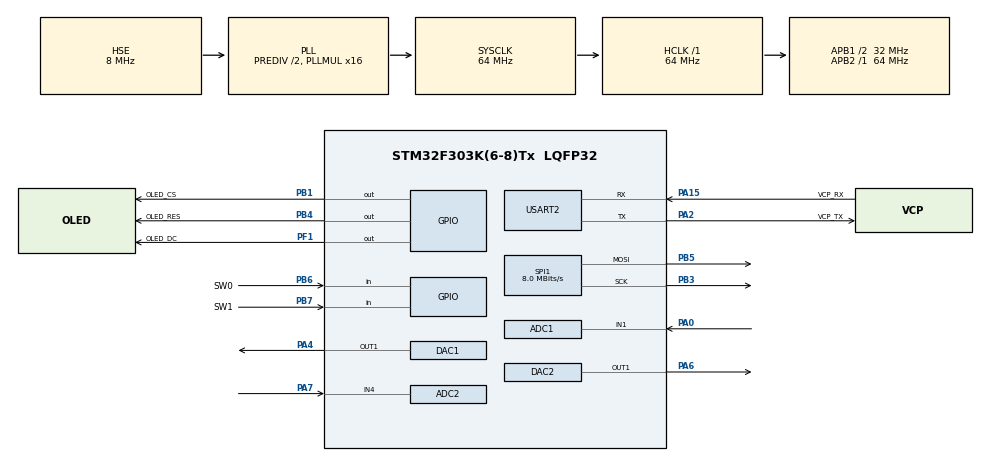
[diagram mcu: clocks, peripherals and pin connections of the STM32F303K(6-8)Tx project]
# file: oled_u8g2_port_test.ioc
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ADC1.Channel-0\#ChannelRegularConversion=ADC_CHANNEL_1
ADC1.Channel-1\#ChannelRegularConversion=ADC_CHANNEL_1
ADC1.Channel-10\#ChannelRegularConversion=ADC_CHANNEL_1
ADC1.Channel-11\#ChannelRegularConversion=ADC_CHANNEL_1
ADC1.Channel-12\#ChannelRegularConversion=ADC_CHANNEL_1
ADC1.Channel-13\#ChannelRegularConversion=ADC_CHANNEL_1
ADC1.Channel-14\#ChannelRegularConversion=ADC_CHANNEL_1
ADC1.Channel-15\#ChannelRegularConversion=ADC_CHANNEL_1
ADC1.Channel-2\#ChannelRegularConversion=ADC_CHANNEL_1
ADC1.Channel-3\#ChannelRegularConversion=ADC_CHANNEL_1
ADC1.Channel-4\#ChannelRegularConversion=ADC_CHANNEL_1
ADC1.Channel-5\#ChannelRegularConversion=ADC_CHANNEL_1
ADC1.Channel-6\#ChannelRegularConversion=ADC_CHANNEL_1
ADC1.Channel-7\#ChannelRegularConversion=ADC_CHANNEL_1
ADC1.Channel-8\#ChannelRegularConversion=ADC_CHANNEL_1
ADC1.Channel-9\#ChannelRegularConversion=ADC_CHANNEL_1
ADC1.NbrOfConversion=16
ADC1.NbrOfConversionFlag=1
ADC1.Offset-0\#ChannelRegularConversion=0
ADC1.Offset-1\#ChannelRegularConversion=0
ADC1.Offset-10\#ChannelRegularConversion=0
ADC1.Offset-11\#ChannelRegularConversion=0
ADC1.Offset-12\#ChannelRegularConversion=0
ADC1.Offset-13\#ChannelRegularConversion=0
ADC1.Offset-14\#ChannelRegularConversion=0
ADC1.Offset-15\#ChannelRegularConversion=0
ADC1.Offset-2\#ChannelRegularConversion=0
ADC1.Offset-3\#ChannelRegularConversion=0
ADC1.Offset-4\#ChannelRegularConversion=0
ADC1.Offset-5\#ChannelRegularConversion=0
ADC1.Offset-6\#ChannelRegularConversion=0
ADC1.Offset-7\#ChannelRegularConversion=0
ADC1.Offset-8\#ChannelRegularConversion=0
ADC1.Offset-9\#ChannelRegularConversion=0
ADC1.OffsetNumber-0\#ChannelRegularConversion=ADC_OFFSET_NONE
ADC1.OffsetNumber-1\#ChannelRegularConversion=ADC_OFFSET_NONE
ADC1.OffsetNumber-10\#ChannelRegularConversion=ADC_OFFSET_NONE
ADC1.OffsetNumber-11\#ChannelRegularConversion=ADC_OFFSET_NONE
ADC1.OffsetNumber-12\#ChannelRegularConversion=ADC_OFFSET_NONE
ADC1.OffsetNumber-13\#ChannelRegularConversion=ADC_OFFSET_NONE
ADC1.OffsetNumber-14\#ChannelRegularConversion=ADC_OFFSET_NONE
ADC1.OffsetNumber-15\#ChannelRegularConversion=ADC_OFFSET_NONE
ADC1.OffsetNumber-2\#ChannelRegularConversion=ADC_OFFSET_NONE
ADC1.OffsetNumber-3\#ChannelRegularConversion=ADC_OFFSET_NONE
ADC1.OffsetNumber-4\#ChannelRegularConversion=ADC_OFFSET_NONE
ADC1.OffsetNumber-5\#ChannelRegularConversion=ADC_OFFSET_NONE
ADC1.OffsetNumber-6\#ChannelRegularConversion=ADC_OFFSET_NONE
ADC1.OffsetNumber-7\#ChannelRegularConversion=ADC_OFFSET_NONE
ADC1.OffsetNumber-8\#ChannelRegularConversion=ADC_OFFSET_NONE
ADC1.OffsetNumber-9\#ChannelRegularConversion=ADC_OFFSET_NONE
ADC1.Rank-0\#ChannelRegularConversion=1
ADC1.Rank-1\#ChannelRegularConversion=2
ADC1.Rank-10\#ChannelRegularConversion=11
ADC1.Rank-11\#ChannelRegularConversion=12
ADC1.Rank-12\#ChannelRegularConversion=13
ADC1.Rank-13\#ChannelRegularConversion=14
ADC1.Rank-14\#ChannelRegularConversion=15
ADC1.Rank-15\#ChannelRegularConversion=16
ADC1.Rank-2\#ChannelRegularConversion=3
ADC1.Rank-3\#ChannelRegularConversion=4
ADC1.Rank-4\#ChannelRegularConversion=5
ADC1.Rank-5\#ChannelRegularConversion=6
ADC1.Rank-6\#ChannelRegularConversion=7
ADC1.Rank-7\#ChannelRegularConversion=8
ADC1.Rank-8\#ChannelRegularConversion=9
ADC1.Rank-9\#ChannelRegularConversion=10
ADC1.SamplingTime-0\#ChannelRegularConversion=ADC_SAMPLETIME_1CYCLE_5
ADC1.SamplingTime-1\#ChannelRegularConversion=ADC_SAMPLETIME_1CYCLE_5
ADC1.SamplingTime-10\#ChannelRegularConversion=ADC_SAMPLETIME_1CYCLE_5
ADC1.SamplingTime-11\#ChannelRegularConversion=ADC_SAMPLETIME_1CYCLE_5
ADC1.SamplingTime-12\#ChannelRegularConversion=ADC_SAMPLETIME_1CYCLE_5
ADC1.SamplingTime-13\#ChannelRegularConversion=ADC_SAMPLETIME_1CYCLE_5
ADC1.SamplingTime-14\#ChannelRegularConversion=ADC_SAMPLETIME_1CYCLE_5
ADC1.SamplingTime-15\#ChannelRegularConversion=ADC_SAMPLETIME_1CYCLE_5
ADC1.SamplingTime-2\#ChannelRegularConversion=ADC_SAMPLETIME_1CYCLE_5
ADC1.SamplingTime-3\#ChannelRegularConversion=ADC_SAMPLETIME_1CYCLE_5
ADC1.SamplingTime-4\#ChannelRegularConversion=ADC_SAMPLETIME_1CYCLE_5
ADC1.SamplingTime-5\#ChannelRegularConversion=ADC_SAMPLETIME_1CYCLE_5
ADC1.SamplingTime-6\#ChannelRegularConversion=ADC_SAMPLETIME_1CYCLE_5
ADC1.SamplingTime-7\#ChannelRegularConversion=ADC_SAMPLETIME_1CYCLE_5
ADC1.SamplingTime-8\#ChannelRegularConversion=ADC_SAMPLETIME_1CYCLE_5
ADC1.SamplingTime-9\#ChannelRegularConversion=ADC_SAMPLETIME_1CYCLE_5
ADC1.SamplingTimeOPAMP-0\#ChannelRegularConversion=ADC_SAMPLETIME_19CYCLES_5
ADC1.SamplingTimeOPAMP-1\#ChannelRegularConversion=ADC_SAMPLETIME_1CYCLE_5
ADC1.SamplingTimeOPAMP-10\#ChannelRegularConversion=ADC_SAMPLETIME_1CYCLE_5
ADC1.SamplingTimeOPAMP-11\#ChannelRegularConversion=ADC_SAMPLETIME_1CYCLE_5
ADC1.SamplingTimeOPAMP-12\#ChannelRegularConversion=ADC_SAMPLETIME_1CYCLE_5
ADC1.SamplingTimeOPAMP-13\#ChannelRegularConversion=ADC_SAMPLETIME_1CYCLE_5
ADC1.SamplingTimeOPAMP-14\#ChannelRegularConversion=ADC_SAMPLETIME_1CYCLE_5
ADC1.SamplingTimeOPAMP-15\#ChannelRegularConversion=ADC_SAMPLETIME_1CYCLE_5
ADC1.SamplingTimeOPAMP-2\#ChannelRegularConversion=ADC_SAMPLETIME_1CYCLE_5
ADC1.SamplingTimeOPAMP-3\#ChannelRegularConversion=ADC_SAMPLETIME_1CYCLE_5
ADC1.SamplingTimeOPAMP-4\#ChannelRegularConversion=ADC_SAMPLETIME_1CYCLE_5
ADC1.SamplingTimeOPAMP-5\#ChannelRegularConversion=ADC_SAMPLETIME_1CYCLE_5
ADC1.SamplingTimeOPAMP-6\#ChannelRegularConversion=ADC_SAMPLETIME_1CYCLE_5
ADC1.SamplingTimeOPAMP-7\#ChannelRegularConversion=ADC_SAMPLETIME_1CYCLE_5
ADC1.SamplingTimeOPAMP-8\#ChannelRegularConversion=ADC_SAMPLETIME_1CYCLE_5
ADC1.SamplingTimeOPAMP-9\#ChannelRegularConversion=ADC_SAMPLETIME_1CYCLE_5
ADC1.SubFamily=STM32F303x8
ADC1.master=1
ADC2.Channel-1\#ChannelRegularConversion=ADC_CHANNEL_4
ADC2.Channel-10\#ChannelRegularConversion=ADC_CHANNEL_4
ADC2.Channel-11\#ChannelRegularConversion=ADC_CHANNEL_4
ADC2.Channel-12\#ChannelRegularConversion=ADC_CHANNEL_4
ADC2.Channel-13\#ChannelRegularConversion=ADC_CHANNEL_4
ADC2.Channel-14\#ChannelRegularConversion=ADC_CHANNEL_4
ADC2.Channel-15\#ChannelRegularConversion=ADC_CHANNEL_4
ADC2.Channel-16\#ChannelRegularConversion=ADC_CHANNEL_4
ADC2.Channel-2\#ChannelRegularConversion=ADC_CHANNEL_4
ADC2.Channel-3\#ChannelRegularConversion=ADC_CHANNEL_4
ADC2.Channel-4\#ChannelRegularConversion=ADC_CHANNEL_4
ADC2.Channel-5\#ChannelRegularConversion=ADC_CHANNEL_4
ADC2.Channel-6\#ChannelRegularConversion=ADC_CHANNEL_4
ADC2.Channel-7\#ChannelRegularConversion=ADC_CHANNEL_4
ADC2.Channel-8\#ChannelRegularConversion=ADC_CHANNEL_4
ADC2.Channel-9\#ChannelRegularConversion=ADC_CHANNEL_4
ADC2.NbrOfConversion=16
ADC2.NbrOfConversionFlag=1
ADC2.Offset-1\#ChannelRegularConversion=0
ADC2.Offset-10\#ChannelRegularConversion=0
ADC2.Offset-11\#ChannelRegularConversion=0
ADC2.Offset-12\#ChannelRegularConversion=0
ADC2.Offset-13\#ChannelRegularConversion=0
ADC2.Offset-14\#ChannelRegularConversion=0
ADC2.Offset-15\#ChannelRegularConversion=0
ADC2.Offset-16\#ChannelRegularConversion=0
ADC2.Offset-2\#ChannelRegularConversion=0
ADC2.Offset-3\#ChannelRegularConversion=0
ADC2.Offset-4\#ChannelRegularConversion=0
ADC2.Offset-5\#ChannelRegularConversion=0
ADC2.Offset-6\#ChannelRegularConversion=0
ADC2.Offset-7\#ChannelRegularConversion=0
ADC2.Offset-8\#ChannelRegularConversion=0
ADC2.Offset-9\#ChannelRegularConversion=0
ADC2.OffsetNumber-1\#ChannelRegularConversion=ADC_OFFSET_NONE
ADC2.OffsetNumber-10\#ChannelRegularConversion=ADC_OFFSET_NONE
ADC2.OffsetNumber-11\#ChannelRegularConversion=ADC_OFFSET_NONE
ADC2.OffsetNumber-12\#ChannelRegularConversion=ADC_OFFSET_NONE
ADC2.OffsetNumber-13\#ChannelRegularConversion=ADC_OFFSET_NONE
ADC2.OffsetNumber-14\#ChannelRegularConversion=ADC_OFFSET_NONE
ADC2.OffsetNumber-15\#ChannelRegularConversion=ADC_OFFSET_NONE
ADC2.OffsetNumber-16\#ChannelRegularConversion=ADC_OFFSET_NONE
ADC2.OffsetNumber-2\#ChannelRegularConversion=ADC_OFFSET_NONE
ADC2.OffsetNumber-3\#ChannelRegularConversion=ADC_OFFSET_NONE
ADC2.OffsetNumber-4\#ChannelRegularConversion=ADC_OFFSET_NONE
ADC2.OffsetNumber-5\#ChannelRegularConversion=ADC_OFFSET_NONE
ADC2.OffsetNumber-6\#ChannelRegularConversion=ADC_OFFSET_NONE
ADC2.OffsetNumber-7\#ChannelRegularConversion=ADC_OFFSET_NONE
ADC2.OffsetNumber-8\#ChannelRegularConversion=ADC_OFFSET_NONE
ADC2.OffsetNumber-9\#ChannelRegularConversion=ADC_OFFSET_NONE
ADC2.Rank-1\#ChannelRegularConversion=1
ADC2.Rank-10\#ChannelRegularConversion=10
ADC2.Rank-11\#ChannelRegularConversion=11
ADC2.Rank-12\#ChannelRegularConversion=12
ADC2.Rank-13\#ChannelRegularConversion=13
ADC2.Rank-14\#ChannelRegularConversion=14
ADC2.Rank-15\#ChannelRegularConversion=15
ADC2.Rank-16\#ChannelRegularConversion=16
ADC2.Rank-2\#ChannelRegularConversion=2
ADC2.Rank-3\#ChannelRegularConversion=3
ADC2.Rank-4\#ChannelRegularConversion=4
ADC2.Rank-5\#ChannelRegularConversion=5
ADC2.Rank-6\#ChannelRegularConversion=6
ADC2.Rank-7\#ChannelRegularConversion=7
ADC2.Rank-8\#ChannelRegularConversion=8
ADC2.Rank-9\#ChannelRegularConversion=9
ADC2.SamplingTime-1\#ChannelRegularConversion=ADC_SAMPLETIME_1CYCLE_5
ADC2.SamplingTime-10\#ChannelRegularConversion=ADC_SAMPLETIME_1CYCLE_5
ADC2.SamplingTime-11\#ChannelRegularConversion=ADC_SAMPLETIME_1CYCLE_5
ADC2.SamplingTime-12\#ChannelRegularConversion=ADC_SAMPLETIME_1CYCLE_5
ADC2.SamplingTime-13\#ChannelRegularConversion=ADC_SAMPLETIME_1CYCLE_5
ADC2.SamplingTime-14\#ChannelRegularConversion=ADC_SAMPLETIME_1CYCLE_5
ADC2.SamplingTime-15\#ChannelRegularConversion=ADC_SAMPLETIME_1CYCLE_5
ADC2.SamplingTime-16\#ChannelRegularConversion=ADC_SAMPLETIME_1CYCLE_5
ADC2.SamplingTime-2\#ChannelRegularConversion=ADC_SAMPLETIME_1CYCLE_5
ADC2.SamplingTime-3\#ChannelRegularConversion=ADC_SAMPLETIME_1CYCLE_5
ADC2.SamplingTime-4\#ChannelRegularConversion=ADC_SAMPLETIME_1CYCLE_5
ADC2.SamplingTime-5\#ChannelRegularConversion=ADC_SAMPLETIME_1CYCLE_5
ADC2.SamplingTime-6\#ChannelRegularConversion=ADC_SAMPLETIME_1CYCLE_5
ADC2.SamplingTime-7\#ChannelRegularConversion=ADC_SAMPLETIME_1CYCLE_5
ADC2.SamplingTime-8\#ChannelRegularConversion=ADC_SAMPLETIME_1CYCLE_5
ADC2.SamplingTime-9\#ChannelRegularConversion=ADC_SAMPLETIME_1CYCLE_5
ADC2.SamplingTimeOPAMP-1\#ChannelRegularConversion=ADC_SAMPLETIME_19CYCLES_5
ADC2.SamplingTimeOPAMP-10\#ChannelRegularConversion=ADC_SAMPLETIME_1CYCLE_5
ADC2.SamplingTimeOPAMP-11\#ChannelRegularConversion=ADC_SAMPLETIME_1CYCLE_5
ADC2.SamplingTimeOPAMP-12\#ChannelRegularConversion=ADC_SAMPLETIME_1CYCLE_5
ADC2.SamplingTimeOPAMP-13\#ChannelRegularConversion=ADC_SAMPLETIME_1CYCLE_5
ADC2.SamplingTimeOPAMP-14\#ChannelRegularConversion=ADC_SAMPLETIME_1CYCLE_5
ADC2.SamplingTimeOPAMP-15\#ChannelRegularConversion=ADC_SAMPLETIME_1CYCLE_5
ADC2.SamplingTimeOPAMP-16\#ChannelRegularConversion=ADC_SAMPLETIME_1CYCLE_5
ADC2.SamplingTimeOPAMP-2\#ChannelRegularConversion=ADC_SAMPLETIME_1CYCLE_5
ADC2.SamplingTimeOPAMP-3\#ChannelRegularConversion=ADC_SAMPLETIME_1CYCLE_5
ADC2.SamplingTimeOPAMP-4\#ChannelRegularConversion=ADC_SAMPLETIME_1CYCLE_5
ADC2.SamplingTimeOPAMP-5\#ChannelRegularConversion=ADC_SAMPLETIME_1CYCLE_5
ADC2.SamplingTimeOPAMP-6\#ChannelRegularConversion=ADC_SAMPLETIME_1CYCLE_5
ADC2.SamplingTimeOPAMP-7\#ChannelRegularConversion=ADC_SAMPLETIME_1CYCLE_5
ADC2.SamplingTimeOPAMP-8\#ChannelRegularConversion=ADC_SAMPLETIME_1CYCLE_5
ADC2.SamplingTimeOPAMP-9\#ChannelRegularConversion=ADC_SAMPLETIME_1CYCLE_5
ADC2.SubFamily=STM32F303x8
DAC1.DAC_OutputBuffer=DAC_OUTPUTBUFFER_ENABLE
Mcu.Family=STM32F3
Mcu.Name=STM32F303K(6-8)Tx
Mcu.Package=LQFP32
NVIC.PriorityGroup=NVIC_PRIORITYGROUP_4
PA0.Mode=IN1-Single-Ended
PA0.Signal=ADC1_IN1
PA13.GPIO_Label=SWDIO
PA13.Mode=Serial_Wire
PA13.Signal=SYS_JTMS-SWDIO
PA14.GPIO_Label=SWCLK
PA14.Mode=Serial_Wire
PA14.Signal=SYS_JTCK-SWCLK
PA15.GPIO_Label=VCP_RX
PA15.Mode=Asynchronous
PA15.Signal=USART2_RX
PA2.GPIO_Label=VCP_TX
PA2.Mode=Asynchronous
PA2.Signal=USART2_TX
PA4.Signal=COMP_DAC11_group
PA6.Signal=COMP_DAC21_group
PA7.Mode=IN4-Single-Ended
PA7.Signal=ADC2_IN4
PB1.GPIO_Label=OLED_CS
PB1.Signal=GPIO_Output
PB3.Mode=TX_Only_Simplex_Unidirect_Master
PB3.Signal=SPI1_SCK
PB4.GPIO_Label=OLED_RES
PB4.Signal=GPIO_Output
PB5.Mode=TX_Only_Simplex_Unidirect_Master
PB5.Signal=SPI1_MOSI
PB6.GPIO_Label=SW0
PB6.Signal=GPIO_Input
PB7.GPIO_Label=SW1
PB7.Signal=GPIO_Input
PF0\ /\ OSC_IN.GPIO_Label=MCO
PF0\ /\ OSC_IN.Mode=HSE-External-Clock-Source
PF0\ /\ OSC_IN.Signal=RCC_OSC_IN
PF1\ /\ OSC_OUT.GPIO_Label=OLED_DC
PF1\ /\ OSC_OUT.Signal=GPIO_Output
ProjectManager.HeapSize=0x200
ProjectManager.StackSize=0x400
ProjectManager.TargetToolchain=STM32CubeIDE
RCC.ADC12PRES=RCC_ADC12PLLCLK_DIV64
RCC.AHBFreq_Value=64000000
RCC.APB1CLKDivider=RCC_HCLK_DIV2
RCC.APB1Freq_Value=32000000
RCC.APB1TimFreq_Value=64000000
RCC.APB2Freq_Value=64000000
RCC.APB2TimFreq_Value=64000000
RCC.CortexFreq_Value=64000000
RCC.HCLKFreq_Value=64000000
RCC.HSE_VALUE=8000000
RCC.HSI_VALUE=8000000
RCC.PLLMUL=RCC_PLL_MUL16
RCC.PLLSourceVirtual=RCC_PLLSOURCE_HSE
RCC.RCC_PLLsource_Clock_Source_FROM_HSE=RCC_HSE_PREDIV_DIV2
RCC.SYSCLKFreq_VALUE=64000000
RCC.SYSCLKSourceVirtual=RCC_SYSCLKSOURCE_PLLCLK
SH.COMP_DAC11_group.0=DAC1_OUT1,DAC_OUT1
SH.COMP_DAC21_group.0=DAC2_OUT1,Switch_Enable_OUT1
SPI1.BaudRatePrescaler=SPI_BAUDRATEPRESCALER_8
SPI1.CLKPhase=SPI_PHASE_1EDGE
SPI1.CLKPolarity=SPI_POLARITY_LOW
SPI1.CalculateBaudRate=8.0 MBits/s
SPI1.DataSize=SPI_DATASIZE_8BIT
SPI1.Direction=SPI_DIRECTION_2LINES
SPI1.FirstBit=SPI_FIRSTBIT_MSB
SPI1.Mode=SPI_MODE_MASTER
SPI1.VirtualType=VM_MASTER
USART2.VirtualMode-Asynchronous=VM_ASYNC
board=NUCLEO-F303K8

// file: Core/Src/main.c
/* USER CODE BEGIN Header */
/**
 ******************************************************************************
 * @file           : main.c
 * @brief          : Main program body
 ******************************************************************************
 * @attention
 *
 * Copyright (c) 2022 STMicroelectronics.
 * All rights reserved.
 *
 * This software is licensed under terms that can be found in the LICENSE file
 * in the root directory of this software component.
 * If no LICENSE file comes with this software, it is provided AS-IS.
 *
 ******************************************************************************
 */
/* USER CODE END Header */
#include "main.h"

/* USER CODE BEGIN Includes */

#include "u8g2/u8g2.h"

/* USER CODE END Includes */

ADC_HandleTypeDef hadc1;
ADC_HandleTypeDef hadc2;

DAC_HandleTypeDef hdac1;
DAC_HandleTypeDef hdac2;

SPI_HandleTypeDef hspi1;

UART_HandleTypeDef huart2;

/* USER CODE BEGIN PV */

u8g2_t u8g2; // a structure which will contain all the data for one display

/* USER CODE END PV */

void SystemClock_Config(void);
static void MX_GPIO_Init(void);
static void MX_USART2_UART_Init(void);
static void MX_ADC1_Init(void);
static void MX_SPI1_Init(void);
static void MX_ADC2_Init(void);
static void MX_DAC1_Init(void);
static void MX_DAC2_Init(void);

/* USER CODE BEGIN 0 */

extern uint8_t u8x8_stm32_gpio_and_delay(u8x8_t *u8x8, uint8_t msg,
        uint8_t arg_int, void *arg_ptr);
extern uint8_t u8x8_byte_stm32_hw_spi(u8x8_t *u8x8, uint8_t msg,
        uint8_t arg_int, void *arg_ptr);

/*void draw(u8g2_t *u8g2)
 {
 u8g2_ClearBuffer(u8g2);

 u8g2_SetFontMode(u8g2, 1);
 u8g2_SetFontDirection(u8g2, 0);
 u8g2_SetFont(u8g2, u8g2_font_6x10);

 sprintf(string_1, "LCD refresh: %d ms", lcd_refresh_time);
 u8g2_DrawStr(u8g2, 2, 10, string_1);

 u8g2_SendBuffer(u8g2);
 }*/

const float M_PI_F = (float)M_PI;

//convert a voltage [V] to an 8-bit DAC output value
uint32_t VoltageTo8BitDacValue(float voltage)
{
    if ((voltage < 0.0f) || (voltage > 3.3f)) return 0;//todo: output error?

    uint32_t dacValue = (uint32_t) roundf(voltage * 255 / 3.3f);//todo: not the fastest with this function call... maybe come up with a better way eventually
    return dacValue;
}

/* USER CODE END 0 */

int main(void)
{

  /* MCU Configuration--------------------------------------------------------*/

  /* Reset of all peripherals, Initializes the Flash interface and the Systick. */
  HAL_Init();

  /* Configure the system clock */
  SystemClock_Config();

  /* Initialize all configured peripherals */
  MX_GPIO_Init();
  MX_USART2_UART_Init();
  MX_ADC1_Init();
  MX_SPI1_Init();
  MX_ADC2_Init();
  MX_DAC1_Init();
  MX_DAC2_Init();
  /* USER CODE BEGIN 2 */

    /* rotation options:
     U8G2_R0    No rotation, landscape
     U8G2_R1     90 degree clockwise rotation
     U8G2_R2     180 degree clockwise rotation
     U8G2_R3     270 degree clockwise rotation
     U8G2_MIRROR     No rotation, landscape, display content is mirrored (v2.6.x)
     */
    u8g2_Setup_ssd1309_128x64_noname2_f(&u8g2, U8G2_R0, u8x8_byte_stm32_hw_spi,
            u8x8_stm32_gpio_and_delay);
    u8g2_InitDisplay(&u8g2);
    u8g2_SetPowerSave(&u8g2, 0);
  /* USER CODE END 2 */

  /* Infinite loop */
  /* USER CODE BEGIN WHILE */
    //u8g2_SetFont(&u8g2, u8g2_font_ncenB14_tr);
    u8g2_SetFont(&u8g2, u8g2_font_unifont_t_symbols);
    char strBuffer[30];
    u8g2_DrawStr(&u8g2, 0, 15, "hello");
    u8g2_SendBuffer(&u8g2);

    //HAL_DAC_Start(&hdac1, DAC_CHANNEL_1);
    //float dacDesiredVoltage1 = 1.55f;
    //uint32_t dacValue1 = VoltageTo8BitDacValue(dacDesiredVoltage1);
    //float dacActualVoltage1 = ((float)dacValue1)/255.0f * 3.3f;
    //HAL_DAC_SetValue(&hdac1, DAC_CHANNEL_1, DAC_ALIGN_8B_R, dacValue1);

    HAL_DAC_Start(&hdac2, DAC_CHANNEL_1);  //audio out is on PA6 = DAC2/1
    //float dacDesiredVoltage2 = 2.59f;
    //uint32_t dacValue2 = (uint32_t) roundf(dacDesiredVoltage2 * 255 / 3.3f);
    //float dacActualVoltage2 = ((float)dacValue2)/255.0f * 3.3f;
    //HAL_DAC_SetValue(&hdac2, DAC_CHANNEL_1, DAC_ALIGN_8B_R, dacValue2);//2.59V

    float amplitude = 0.00f;
    float frequency = 300.0f;
    float sampleRate = 1000.0f;//[samp/sec]
    float sampleTime = 1.0f/sampleRate;//[sec/sample]

    int samplesPerCycle = (int)roundf(1.0f/frequency * sampleRate);

    uint32_t wave[samplesPerCycle];

    for (int i=0; i<samplesPerCycle; i++){
        float timeS = (i+1) * sampleTime;
        float voltage = amplitude * sinf(2*3.14159265359f*frequency*timeS) + amplitude;
        wave[i] = VoltageTo8BitDacValue(voltage);
    }

    int waveCount = 0;
    uint32_t sampleTimeMS = (uint32_t)(sampleTime * 1000);
    while (1) {
        uint32_t waveValue = wave[waveCount];
        HAL_DAC_SetValue(&hdac2, DAC_CHANNEL_1, DAC_ALIGN_8B_R, waveValue);

        u8g2_ClearBuffer(&u8g2);

        GPIO_PinState pinState0 = HAL_GPIO_ReadPin(SW0_GPIO_Port, SW0_Pin);
        int switch0State = (int)pinState0;//GPIO_PIN_RESET or GPIO_PIN_SET
        snprintf(strBuffer, 30, "SW0:%d", switch0State);
        u8g2_DrawStr(&u8g2, 0, 15, strBuffer);

        GPIO_PinState pinState1 = HAL_GPIO_ReadPin(SW1_GPIO_Port, SW1_Pin);
        int switch1State = (int)pinState1;//GPIO_PIN_RESET or GPIO_PIN_SET
        snprintf(strBuffer, 30, "SW1:%d", switch1State);
        u8g2_DrawStr(&u8g2, 0, 30, strBuffer);

        u8g2_SendBuffer(&u8g2);

        HAL_Delay(sampleTimeMS);

        waveCount++;
        if (waveCount >= samplesPerCycle) waveCount = 0;
    }

    uint32_t adcValue1, adcValue2;
    while (1) {
    /* USER CODE END WHILE */

    /* USER CODE BEGIN 3 */

        HAL_ADC_Start(&hadc1);
        if (HAL_ADC_PollForConversion(&hadc1, 100) == HAL_OK) {
            adcValue1 = HAL_ADC_GetValue(&hadc1);

            /*uint16_t yIndex = 35;
            uint16_t xIndex = 2;
            uint16_t xIncrement = 18;
            u8g2_DrawGlyph(&u8g2, xIndex, yIndex, 9731);
            xIndex += xIncrement;
            u8g2_DrawGlyph(&u8g2, xIndex, yIndex, 9752);
            xIndex += xIncrement;
            u8g2_DrawGlyph(&u8g2, xIndex, yIndex, 9753);
            xIndex += xIncrement;
            u8g2_DrawGlyph(&u8g2, xIndex, yIndex, 9206);
            xIndex += xIncrement;
            u8g2_DrawGlyph(&u8g2, xIndex, yIndex, 9207);
            xIndex += xIncrement;
            u8g2_DrawGlyph(&u8g2, xIndex, yIndex, 8679);
            xIndex += xIncrement;
            u8g2_DrawGlyph(&u8g2, xIndex, yIndex, 8681);

            yIndex = 55;
            xIndex = 2;
            xIncrement = 18;
            u8g2_DrawGlyph(&u8g2, xIndex, yIndex, 9812);
            xIndex += xIncrement;
            u8g2_DrawGlyph(&u8g2, xIndex, yIndex, 9813);
            xIndex += xIncrement;
            u8g2_DrawGlyph(&u8g2, xIndex, yIndex, 9814);
            xIndex += xIncrement;
            u8g2_DrawGlyph(&u8g2, xIndex, yIndex, 9815);
            xIndex += xIncrement;
            u8g2_DrawGlyph(&u8g2, xIndex, yIndex, 9816);
            xIndex += xIncrement;
            u8g2_DrawGlyph(&u8g2, xIndex, yIndex, 9817);
            xIndex += xIncrement;
            u8g2_DrawGlyph(&u8g2, xIndex, yIndex, 9818);*/
        }
        HAL_ADC_Stop(&hadc1);

        //HAL_Delay(100);

        HAL_ADC_Start(&hadc2);
        if (HAL_ADC_PollForConversion(&hadc2, 100) == HAL_OK) {
            adcValue2 = HAL_ADC_GetValue(&hadc2);
        }
        HAL_ADC_Stop(&hadc2);

        u8g2_ClearBuffer(&u8g2);

        float voltage1 = ((float)adcValue1) / 4095 * 3.3f;
        float voltage2 = ((float)adcValue2) / 4095 * 3.3f;

        snprintf(strBuffer, 30, "%.2f / %.2f V", voltage1, 0.0);//dacActualVoltage1);
        uint16_t width = u8g2_GetUTF8Width(&u8g2, strBuffer);
        u8g2_DrawStr(&u8g2, 128 / 2 - width / 2, 15, strBuffer);

        snprintf(strBuffer, 30, "%.2f / %.2f V", voltage2, 0.0);//dacActualVoltage2);
        width = u8g2_GetUTF8Width(&u8g2, strBuffer);
        u8g2_DrawStr(&u8g2, 128 / 2 - width / 2, 30, strBuffer);

        u8g2_SendBuffer(&u8g2);
    }
  /* USER CODE END 3 */
}

void SystemClock_Config(void)
{
  RCC_OscInitTypeDef RCC_OscInitStruct = {0};
  RCC_ClkInitTypeDef RCC_ClkInitStruct = {0};
  RCC_PeriphCLKInitTypeDef PeriphClkInit = {0};

  /** Initializes the RCC Oscillators according to the specified parameters
  * in the RCC_OscInitTypeDef structure.
  */
  RCC_OscInitStruct.OscillatorType = RCC_OSCILLATORTYPE_HSE;
  RCC_OscInitStruct.HSEState = RCC_HSE_BYPASS;
  RCC_OscInitStruct.HSEPredivValue = RCC_HSE_PREDIV_DIV2;
  RCC_OscInitStruct.HSIState = RCC_HSI_ON;
  RCC_OscInitStruct.PLL.PLLState = RCC_PLL_ON;
  RCC_OscInitStruct.PLL.PLLSource = RCC_PLLSOURCE_HSE;
  RCC_OscInitStruct.PLL.PLLMUL = RCC_PLL_MUL16;
  if (HAL_RCC_OscConfig(&RCC_OscInitStruct) != HAL_OK)
  {
    Error_Handler();
  }

  /** Initializes the CPU, AHB and APB buses clocks
  */
  RCC_ClkInitStruct.ClockType = RCC_CLOCKTYPE_HCLK|RCC_CLOCKTYPE_SYSCLK
                              |RCC_CLOCKTYPE_PCLK1|RCC_CLOCKTYPE_PCLK2;
  RCC_ClkInitStruct.SYSCLKSource = RCC_SYSCLKSOURCE_PLLCLK;
  RCC_ClkInitStruct.AHBCLKDivider = RCC_SYSCLK_DIV1;
  RCC_ClkInitStruct.APB1CLKDivider = RCC_HCLK_DIV2;
  RCC_ClkInitStruct.APB2CLKDivider = RCC_HCLK_DIV1;

  if (HAL_RCC_ClockConfig(&RCC_ClkInitStruct, FLASH_LATENCY_2) != HAL_OK)
  {
    Error_Handler();
  }
  PeriphClkInit.PeriphClockSelection = RCC_PERIPHCLK_ADC12;
  PeriphClkInit.Adc12ClockSelection = RCC_ADC12PLLCLK_DIV64;
  if (HAL_RCCEx_PeriphCLKConfig(&PeriphClkInit) != HAL_OK)
  {
    Error_Handler();
  }
}

static void MX_ADC1_Init(void)
{

  ADC_MultiModeTypeDef multimode = {0};
  ADC_ChannelConfTypeDef sConfig = {0};

  /** Common config
  */
  hadc1.Instance = ADC1;
  hadc1.Init.ClockPrescaler = ADC_CLOCK_ASYNC_DIV1;
  hadc1.Init.Resolution = ADC_RESOLUTION_12B;
  hadc1.Init.ScanConvMode = ADC_SCAN_ENABLE;
  hadc1.Init.ContinuousConvMode = DISABLE;
  hadc1.Init.DiscontinuousConvMode = DISABLE;
  hadc1.Init.ExternalTrigConvEdge = ADC_EXTERNALTRIGCONVEDGE_NONE;
  hadc1.Init.ExternalTrigConv = ADC_SOFTWARE_START;
  hadc1.Init.DataAlign = ADC_DATAALIGN_RIGHT;
  hadc1.Init.NbrOfConversion = 16;
  hadc1.Init.DMAContinuousRequests = DISABLE;
  hadc1.Init.EOCSelection = ADC_EOC_SINGLE_CONV;
  hadc1.Init.LowPowerAutoWait = DISABLE;
  hadc1.Init.Overrun = ADC_OVR_DATA_OVERWRITTEN;
  if (HAL_ADC_Init(&hadc1) != HAL_OK)
  {
    Error_Handler();
  }

  /** Configure the ADC multi-mode
  */
  multimode.Mode = ADC_MODE_INDEPENDENT;
  if (HAL_ADCEx_MultiModeConfigChannel(&hadc1, &multimode) != HAL_OK)
  {
    Error_Handler();
  }

  /** Configure Regular Channel
  */
  sConfig.Channel = ADC_CHANNEL_1;
  sConfig.Rank = ADC_REGULAR_RANK_1;
  sConfig.SingleDiff = ADC_SINGLE_ENDED;
  sConfig.SamplingTime = ADC_SAMPLETIME_1CYCLE_5;
  sConfig.OffsetNumber = ADC_OFFSET_NONE;
  sConfig.Offset = 0;
  if (HAL_ADC_ConfigChannel(&hadc1, &sConfig) != HAL_OK)
  {
    Error_Handler();
  }

  /** Configure Regular Channel
  */
  sConfig.Rank = ADC_REGULAR_RANK_2;
  if (HAL_ADC_ConfigChannel(&hadc1, &sConfig) != HAL_OK)
  {
    Error_Handler();
  }

  /** Configure Regular Channel
  */
  sConfig.Rank = ADC_REGULAR_RANK_3;
  if (HAL_ADC_ConfigChannel(&hadc1, &sConfig) != HAL_OK)
  {
    Error_Handler();
  }

  /** Configure Regular Channel
  */
  sConfig.Rank = ADC_REGULAR_RANK_4;
  if (HAL_ADC_ConfigChannel(&hadc1, &sConfig) != HAL_OK)
  {
    Error_Handler();
  }

  /** Configure Regular Channel
  */
  sConfig.Rank = ADC_REGULAR_RANK_5;
  if (HAL_ADC_ConfigChannel(&hadc1, &sConfig) != HAL_OK)
  {
    Error_Handler();
  }

  /** Configure Regular Channel
  */
  sConfig.Rank = ADC_REGULAR_RANK_6;
  if (HAL_ADC_ConfigChannel(&hadc1, &sConfig) != HAL_OK)
  {
    Error_Handler();
  }

  /** Configure Regular Channel
  */
  sConfig.Rank = ADC_REGULAR_RANK_7;
  if (HAL_ADC_ConfigChannel(&hadc1, &sConfig) != HAL_OK)
  {
    Error_Handler();
  }

  /** Configure Regular Channel
  */
  sConfig.Rank = ADC_REGULAR_RANK_8;
  if (HAL_ADC_ConfigChannel(&hadc1, &sConfig) != HAL_OK)
  {
    Error_Handler();
  }

  /** Configure Regular Channel
  */
  sConfig.Rank = ADC_REGULAR_RANK_9;
  if (HAL_ADC_ConfigChannel(&hadc1, &sConfig) != HAL_OK)
  {
    Error_Handler();
  }

  /** Configure Regular Channel
  */
  sConfig.Rank = ADC_REGULAR_RANK_10;
  if (HAL_ADC_ConfigChannel(&hadc1, &sConfig) != HAL_OK)
  {
    Error_Handler();
  }

  /** Configure Regular Channel
  */
  sConfig.Rank = ADC_REGULAR_RANK_11;
  if (HAL_ADC_ConfigChannel(&hadc1, &sConfig) != HAL_OK)
  {
    Error_Handler();
  }

  /** Configure Regular Channel
  */
  sConfig.Rank = ADC_REGULAR_RANK_12;
  if (HAL_ADC_ConfigChannel(&hadc1, &sConfig) != HAL_OK)
  {
    Error_Handler();
  }

  /** Configure Regular Channel
  */
  sConfig.Rank = ADC_REGULAR_RANK_13;
  if (HAL_ADC_ConfigChannel(&hadc1, &sConfig) != HAL_OK)
  {
    Error_Handler();
  }

  /** Configure Regular Channel
  */
  sConfig.Rank = ADC_REGULAR_RANK_14;
  if (HAL_ADC_ConfigChannel(&hadc1, &sConfig) != HAL_OK)
  {
    Error_Handler();
  }

  /** Configure Regular Channel
  */
  sConfig.Rank = ADC_REGULAR_RANK_15;
  if (HAL_ADC_ConfigChannel(&hadc1, &sConfig) != HAL_OK)
  {
    Error_Handler();
  }

  /** Configure Regular Channel
  */
  sConfig.Rank = ADC_REGULAR_RANK_16;
  if (HAL_ADC_ConfigChannel(&hadc1, &sConfig) != HAL_OK)
  {
    Error_Handler();
  }

}

static void MX_ADC2_Init(void)
{

  ADC_ChannelConfTypeDef sConfig = {0};

  /** Common config
  */
  hadc2.Instance = ADC2;
  hadc2.Init.ClockPrescaler = ADC_CLOCK_ASYNC_DIV1;
  hadc2.Init.Resolution = ADC_RESOLUTION_12B;
  hadc2.Init.ScanConvMode = ADC_SCAN_ENABLE;
  hadc2.Init.ContinuousConvMode = DISABLE;
  hadc2.Init.DiscontinuousConvMode = DISABLE;
  hadc2.Init.ExternalTrigConvEdge = ADC_EXTERNALTRIGCONVEDGE_NONE;
  hadc2.Init.ExternalTrigConv = ADC_SOFTWARE_START;
  hadc2.Init.DataAlign = ADC_DATAALIGN_RIGHT;
  hadc2.Init.NbrOfConversion = 16;
  hadc2.Init.DMAContinuousRequests = DISABLE;
  hadc2.Init.EOCSelection = ADC_EOC_SINGLE_CONV;
  hadc2.Init.LowPowerAutoWait = DISABLE;
  hadc2.Init.Overrun = ADC_OVR_DATA_OVERWRITTEN;
  if (HAL_ADC_Init(&hadc2) != HAL_OK)
  {
    Error_Handler();
  }

  /** Configure Regular Channel
  */
  sConfig.Channel = ADC_CHANNEL_4;
  sConfig.Rank = ADC_REGULAR_RANK_1;
  sConfig.SingleDiff = ADC_SINGLE_ENDED;
  sConfig.SamplingTime = ADC_SAMPLETIME_1CYCLE_5;
  sConfig.OffsetNumber = ADC_OFFSET_NONE;
  sConfig.Offset = 0;
  if (HAL_ADC_ConfigChannel(&hadc2, &sConfig) != HAL_OK)
  {
    Error_Handler();
  }

  /** Configure Regular Channel
  */
  sConfig.Rank = ADC_REGULAR_RANK_2;
  if (HAL_ADC_ConfigChannel(&hadc2, &sConfig) != HAL_OK)
  {
    Error_Handler();
  }

  /** Configure Regular Channel
  */
  sConfig.Rank = ADC_REGULAR_RANK_3;
  if (HAL_ADC_ConfigChannel(&hadc2, &sConfig) != HAL_OK)
  {
    Error_Handler();
  }

  /** Configure Regular Channel
  */
  sConfig.Rank = ADC_REGULAR_RANK_4;
  if (HAL_ADC_ConfigChannel(&hadc2, &sConfig) != HAL_OK)
  {
    Error_Handler();
  }

  /** Configure Regular Channel
  */
  sConfig.Rank = ADC_REGULAR_RANK_5;
  if (HAL_ADC_ConfigChannel(&hadc2, &sConfig) != HAL_OK)
  {
    Error_Handler();
  }

  /** Configure Regular Channel
  */
  sConfig.Rank = ADC_REGULAR_RANK_6;
  if (HAL_ADC_ConfigChannel(&hadc2, &sConfig) != HAL_OK)
  {
    Error_Handler();
  }

  /** Configure Regular Channel
  */
  sConfig.Rank = ADC_REGULAR_RANK_7;
  if (HAL_ADC_ConfigChannel(&hadc2, &sConfig) != HAL_OK)
  {
    Error_Handler();
  }

  /** Configure Regular Channel
  */
  sConfig.Rank = ADC_REGULAR_RANK_8;
  if (HAL_ADC_ConfigChannel(&hadc2, &sConfig) != HAL_OK)
  {
    Error_Handler();
  }

  /** Configure Regular Channel
  */
  sConfig.Rank = ADC_REGULAR_RANK_9;
  if (HAL_ADC_ConfigChannel(&hadc2, &sConfig) != HAL_OK)
  {
    Error_Handler();
  }

  /** Configure Regular Channel
  */
  sConfig.Rank = ADC_REGULAR_RANK_10;
  if (HAL_ADC_ConfigChannel(&hadc2, &sConfig) != HAL_OK)
  {
    Error_Handler();
  }

  /** Configure Regular Channel
  */
  sConfig.Rank = ADC_REGULAR_RANK_11;
  if (HAL_ADC_ConfigChannel(&hadc2, &sConfig) != HAL_OK)
  {
    Error_Handler();
  }

  /** Configure Regular Channel
  */
  sConfig.Rank = ADC_REGULAR_RANK_12;
  if (HAL_ADC_ConfigChannel(&hadc2, &sConfig) != HAL_OK)
  {
    Error_Handler();
  }

  /** Configure Regular Channel
  */
  sConfig.Rank = ADC_REGULAR_RANK_13;
  if (HAL_ADC_ConfigChannel(&hadc2, &sConfig) != HAL_OK)
  {
    Error_Handler();
  }

  /** Configure Regular Channel
  */
  sConfig.Rank = ADC_REGULAR_RANK_14;
  if (HAL_ADC_ConfigChannel(&hadc2, &sConfig) != HAL_OK)
  {
    Error_Handler();
  }

  /** Configure Regular Channel
  */
  sConfig.Rank = ADC_REGULAR_RANK_15;
  if (HAL_ADC_ConfigChannel(&hadc2, &sConfig) != HAL_OK)
  {
    Error_Handler();
  }

  /** Configure Regular Channel
  */
  sConfig.Rank = ADC_REGULAR_RANK_16;
  if (HAL_ADC_ConfigChannel(&hadc2, &sConfig) != HAL_OK)
  {
    Error_Handler();
  }

}

static void MX_DAC1_Init(void)
{

  DAC_ChannelConfTypeDef sConfig = {0};

  /** DAC Initialization
  */
  hdac1.Instance = DAC1;
  if (HAL_DAC_Init(&hdac1) != HAL_OK)
  {
    Error_Handler();
  }

  /** DAC channel OUT1 config
  */
  sConfig.DAC_Trigger = DAC_TRIGGER_NONE;
  sConfig.DAC_OutputBuffer = DAC_OUTPUTBUFFER_ENABLE;
  if (HAL_DAC_ConfigChannel(&hdac1, &sConfig, DAC_CHANNEL_1) != HAL_OK)
  {
    Error_Handler();
  }

}

static void MX_DAC2_Init(void)
{

  DAC_ChannelConfTypeDef sConfig = {0};

  /** DAC Initialization
  */
  hdac2.Instance = DAC2;
  if (HAL_DAC_Init(&hdac2) != HAL_OK)
  {
    Error_Handler();
  }

  /** DAC channel OUT1 config
  */
  sConfig.DAC_Trigger = DAC_TRIGGER_NONE;
  sConfig.DAC_OutputSwitch = DAC_OUTPUTSWITCH_ENABLE;
  if (HAL_DAC_ConfigChannel(&hdac2, &sConfig, DAC_CHANNEL_1) != HAL_OK)
  {
    Error_Handler();
  }

}

static void MX_SPI1_Init(void)
{

  /* SPI1 parameter configuration*/
  hspi1.Instance = SPI1;
  hspi1.Init.Mode = SPI_MODE_MASTER;
  hspi1.Init.Direction = SPI_DIRECTION_2LINES;
  hspi1.Init.DataSize = SPI_DATASIZE_8BIT;
  hspi1.Init.CLKPolarity = SPI_POLARITY_LOW;
  hspi1.Init.CLKPhase = SPI_PHASE_1EDGE;
  hspi1.Init.NSS = SPI_NSS_SOFT;
  hspi1.Init.BaudRatePrescaler = SPI_BAUDRATEPRESCALER_8;
  hspi1.Init.FirstBit = SPI_FIRSTBIT_MSB;
  hspi1.Init.TIMode = SPI_TIMODE_DISABLE;
  hspi1.Init.CRCCalculation = SPI_CRCCALCULATION_DISABLE;
  hspi1.Init.CRCPolynomial = 7;
  hspi1.Init.CRCLength = SPI_CRC_LENGTH_DATASIZE;
  hspi1.Init.NSSPMode = SPI_NSS_PULSE_ENABLE;
  if (HAL_SPI_Init(&hspi1) != HAL_OK)
  {
    Error_Handler();
  }

}

static void MX_USART2_UART_Init(void)
{

  huart2.Instance = USART2;
  huart2.Init.BaudRate = 38400;
  huart2.Init.WordLength = UART_WORDLENGTH_8B;
  huart2.Init.StopBits = UART_STOPBITS_1;
  huart2.Init.Parity = UART_PARITY_NONE;
  huart2.Init.Mode = UART_MODE_TX_RX;
  huart2.Init.HwFlowCtl = UART_HWCONTROL_NONE;
  huart2.Init.OverSampling = UART_OVERSAMPLING_16;
  huart2.Init.OneBitSampling = UART_ONE_BIT_SAMPLE_DISABLE;
  huart2.AdvancedInit.AdvFeatureInit = UART_ADVFEATURE_NO_INIT;
  if (HAL_UART_Init(&huart2) != HAL_OK)
  {
    Error_Handler();
  }

}

static void MX_GPIO_Init(void)
{
  GPIO_InitTypeDef GPIO_InitStruct = {0};

  /* GPIO Ports Clock Enable */
  __HAL_RCC_GPIOF_CLK_ENABLE();
  __HAL_RCC_GPIOA_CLK_ENABLE();
  __HAL_RCC_GPIOB_CLK_ENABLE();

  /*Configure GPIO pin Output Level */
  HAL_GPIO_WritePin(OLED_DC_GPIO_Port, OLED_DC_Pin, GPIO_PIN_RESET);

  /*Configure GPIO pin Output Level */
  HAL_GPIO_WritePin(GPIOB, OLED_CS_Pin|OLED_RES_Pin, GPIO_PIN_RESET);

  /*Configure GPIO pin : OLED_DC_Pin */
  GPIO_InitStruct.Pin = OLED_DC_Pin;
  GPIO_InitStruct.Mode = GPIO_MODE_OUTPUT_PP;
  GPIO_InitStruct.Pull = GPIO_NOPULL;
  GPIO_InitStruct.Speed = GPIO_SPEED_FREQ_LOW;
  HAL_GPIO_Init(OLED_DC_GPIO_Port, &GPIO_InitStruct);

  /*Configure GPIO pins : OLED_CS_Pin OLED_RES_Pin */
  GPIO_InitStruct.Pin = OLED_CS_Pin|OLED_RES_Pin;
  GPIO_InitStruct.Mode = GPIO_MODE_OUTPUT_PP;
  GPIO_InitStruct.Pull = GPIO_NOPULL;
  GPIO_InitStruct.Speed = GPIO_SPEED_FREQ_LOW;
  HAL_GPIO_Init(GPIOB, &GPIO_InitStruct);

  /*Configure GPIO pins : SW0_Pin SW1_Pin */
  GPIO_InitStruct.Pin = SW0_Pin|SW1_Pin;
  GPIO_InitStruct.Mode = GPIO_MODE_INPUT;
  GPIO_InitStruct.Pull = GPIO_NOPULL;
  HAL_GPIO_Init(GPIOB, &GPIO_InitStruct);

}

void Error_Handler(void)
{
    __disable_irq();
    while (1) {
    }
}
